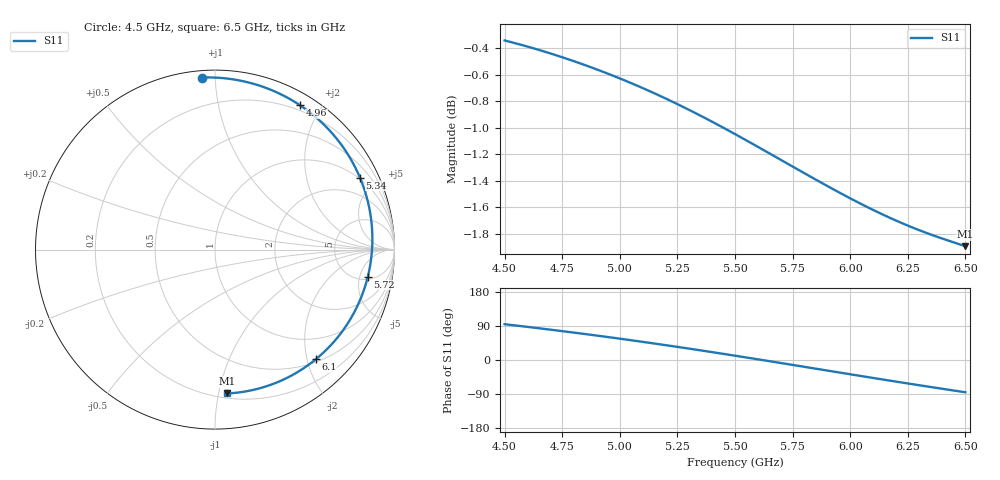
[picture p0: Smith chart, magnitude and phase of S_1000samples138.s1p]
! TOUCHSTONE file generated by CST MICROWAVE STUDIO
! Date and time: Thu Oct 27 03:22:30 2022
! Project name: L.cst
! Parameters = {Di=1.27; Epsilon_r=1.56; InnerDiameter=1.27; Length=2; Lf=10; Lg=60; OuterConductorThickness=0.2921; OuterDiameter=3.6; Wf=3; Wp=41.2; de=1.5; df=6.8; g=0.8; gx=2.45795; gy=4.1904; h=2.34; hf=1.524; px=8.6458; py=12.1343; w=9.7; wx=6.18785; wy=7.94392}
! Header version: 2018
! Port assignment regex: !\s*Touchstone port\s*([0-9]+)\s*=\s*(CST MWS port|CST DS port)\s*([0-9]+|Zmin|Zmax)\s*\(\"(.*)\"\)(\s*mode\s*([0-9]+))?.*
! Touchstone port assignment:
! Touchstone port 1 = CST MWS port 1 ("")
# GHz S DB R 50
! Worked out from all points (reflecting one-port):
!   101 points, 4.5 GHz to 6.5 GHz, reference 50 ohm
!   lowest |S11| = -1.9 dB at 6.5 GHz (marker M1), VSWR 9.21, Z = 11.7 - j53 ohm
!   phase of S11 starts at 94 deg and turns -180 deg over the sweep
!   S11 on the Smith chart (normalised r, x): 4.5 GHz: 0.04, +0.92; 4.96 GHz: 0.14, +1.74; 5.34 GHz: 0.95, +4.05; 5.72 GHz: 5.65, -6.74; 6.1 GHz: 0.55, -2.16; 6.5 GHz: 0.23, -1.06
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4.5  -0.34 94.5
4.58  -0.38 88.8
4.64  -0.41 84.4
4.76  -0.47 75.4
4.86  -0.53 67.6
4.96  -0.60 59.6
5  -0.63 56.3
5.12  -0.72 46.1
5.2  -0.78 39.1
5.26  -0.83 33.7
5.34  -0.90 26.4
5.42  -0.97 19.0
5.5  -1.05 11.4
5.56  -1.10 5.6
5.62  -1.16 -0.2
5.72  -1.26 -10.0
5.76  -1.30 -14.0
5.82  -1.36 -19.9
5.88  -1.42 -25.8
5.94  -1.48 -31.7
6  -1.53 -37.7
6.1  -1.62 -47.4
6.18  -1.68 -55.2
6.26  -1.74 -62.8
6.32  -1.79 -68.5
6.38  -1.82 -74.1
6.44  -1.86 -79.7
6.5  -1.89 -85.2
